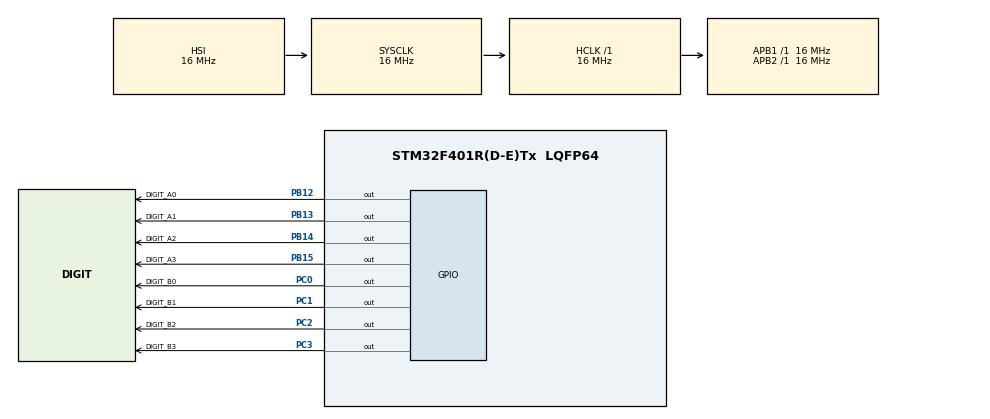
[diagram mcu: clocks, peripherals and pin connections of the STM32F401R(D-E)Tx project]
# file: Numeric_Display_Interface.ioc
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Mcu.Family=STM32F4
Mcu.Name=STM32F401R(D-E)Tx
Mcu.Package=LQFP64
NVIC.PriorityGroup=NVIC_PRIORITYGROUP_4
PB12.GPIO_Label=DIGIT_A0
PB12.Signal=GPIO_Output
PB13.GPIO_Label=DIGIT_A1
PB13.Signal=GPIO_Output
PB14.GPIO_Label=DIGIT_A2
PB14.Signal=GPIO_Output
PB15.GPIO_Label=DIGIT_A3
PB15.Signal=GPIO_Output
PC0.GPIO_Label=DIGIT_B0
PC0.Signal=GPIO_Output
PC1.GPIO_Label=DIGIT_B1
PC1.Signal=GPIO_Output
PC2.GPIO_Label=DIGIT_B2
PC2.Signal=GPIO_Output
PC3.GPIO_Label=DIGIT_B3
PC3.Signal=GPIO_Output
ProjectManager.HeapSize=0x200
ProjectManager.StackSize=0x400
ProjectManager.TargetToolchain=STM32CubeIDE
RCC.AHBFreq_Value=16000000
RCC.APB1Freq_Value=16000000
RCC.APB2Freq_Value=16000000
RCC.CortexFreq_Value=16000000
RCC.HSE_VALUE=25000000
RCC.HSI_VALUE=16000000
RCC.LSE_VALUE=32768
RCC.SYSCLKFreq_VALUE=16000000
RCC.VCOOutputFreq_Value=192000000
board=custom

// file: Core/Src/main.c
/* USER CODE BEGIN Header */
/**
  ******************************************************************************
  * @file           : main.c
  * @brief          : Main program body
  ******************************************************************************
  * @attention
  *
  * Copyright (c) 2026 STMicroelectronics.
  * All rights reserved.
  *
  * This software is licensed under terms that can be found in the LICENSE file
  * in the root directory of this software component.
  * If no LICENSE file comes with this software, it is provided AS-IS.
  *
  ******************************************************************************
  */
/* USER CODE END Header */

#include "main.h"

void SystemClock_Config(void);
static void MX_GPIO_Init(void);

/* USER CODE BEGIN 0 */
void DIGITS_Display(uint8_t digit_A, uint8_t digit_B)
{
  /* Digit A: tens */
  HAL_GPIO_WritePin(GPIOB, DIGIT_A0_Pin,
                   (digit_A & 0x01U) ? GPIO_PIN_SET : GPIO_PIN_RESET);

  HAL_GPIO_WritePin(GPIOB, DIGIT_A1_Pin,
                   (digit_A & 0x02U) ? GPIO_PIN_SET : GPIO_PIN_RESET);

  HAL_GPIO_WritePin(GPIOB, DIGIT_A2_Pin,
                   (digit_A & 0x04U) ? GPIO_PIN_SET : GPIO_PIN_RESET);

  HAL_GPIO_WritePin(GPIOB, DIGIT_A3_Pin,
                   (digit_A & 0x08U) ? GPIO_PIN_SET : GPIO_PIN_RESET);

  /* Digit B: ones */
  HAL_GPIO_WritePin(GPIOC, DIGIT_B0_Pin,
                   (digit_B & 0x01U) ? GPIO_PIN_SET : GPIO_PIN_RESET);

  HAL_GPIO_WritePin(GPIOC, DIGIT_B1_Pin,
                   (digit_B & 0x02U) ? GPIO_PIN_SET : GPIO_PIN_RESET);

  HAL_GPIO_WritePin(GPIOC, DIGIT_B2_Pin,
                   (digit_B & 0x04U) ? GPIO_PIN_SET : GPIO_PIN_RESET);

  HAL_GPIO_WritePin(GPIOC, DIGIT_B3_Pin,
                   (digit_B & 0x08U) ? GPIO_PIN_SET : GPIO_PIN_RESET);
}
/* USER CODE END 0 */

int main(void)
{

  HAL_Init();

  SystemClock_Config();

  MX_GPIO_Init();

  /* USER CODE BEGIN 2 */
  uint8_t count = 0;
  /* USER CODE END 2 */

  /* USER CODE BEGIN WHILE */
  while (1)
  {
    uint8_t digit_A = count / 10U;
    uint8_t digit_B = count % 10U;

    DIGITS_Display(digit_A, digit_B);

    HAL_Delay(500);

    count++;

    if (count >= 100U)
    {
      count = 0;
    }

    /* USER CODE END WHILE */

  }
}

void SystemClock_Config(void)
{
  RCC_OscInitTypeDef RCC_OscInitStruct = {0};
  RCC_ClkInitTypeDef RCC_ClkInitStruct = {0};

  __HAL_RCC_PWR_CLK_ENABLE();
  __HAL_PWR_VOLTAGESCALING_CONFIG(PWR_REGULATOR_VOLTAGE_SCALE2);

  RCC_OscInitStruct.OscillatorType = RCC_OSCILLATORTYPE_HSI;
  RCC_OscInitStruct.HSIState = RCC_HSI_ON;
  RCC_OscInitStruct.HSICalibrationValue = RCC_HSICALIBRATION_DEFAULT;
  RCC_OscInitStruct.PLL.PLLState = RCC_PLL_NONE;

  if (HAL_RCC_OscConfig(&RCC_OscInitStruct) != HAL_OK)
  {
    Error_Handler();
  }

  RCC_ClkInitStruct.ClockType = RCC_CLOCKTYPE_HCLK
                             | RCC_CLOCKTYPE_SYSCLK
                             | RCC_CLOCKTYPE_PCLK1
                             | RCC_CLOCKTYPE_PCLK2;

  RCC_ClkInitStruct.SYSCLKSource = RCC_SYSCLKSOURCE_HSI;
  RCC_ClkInitStruct.AHBCLKDivider = RCC_SYSCLK_DIV1;
  RCC_ClkInitStruct.APB1CLKDivider = RCC_HCLK_DIV1;
  RCC_ClkInitStruct.APB2CLKDivider = RCC_HCLK_DIV1;

  if (HAL_RCC_ClockConfig(&RCC_ClkInitStruct,
                         FLASH_LATENCY_0) != HAL_OK)
  {
    Error_Handler();
  }
}

static void MX_GPIO_Init(void)
{
  GPIO_InitTypeDef GPIO_InitStruct = {0};

  __HAL_RCC_GPIOC_CLK_ENABLE();
  __HAL_RCC_GPIOB_CLK_ENABLE();

  HAL_GPIO_WritePin(
      GPIOC,
      DIGIT_B0_Pin | DIGIT_B1_Pin | DIGIT_B2_Pin | DIGIT_B3_Pin,
      GPIO_PIN_RESET
  );

  HAL_GPIO_WritePin(
      GPIOB,
      DIGIT_A0_Pin | DIGIT_A1_Pin | DIGIT_A2_Pin | DIGIT_A3_Pin,
      GPIO_PIN_RESET
  );

  GPIO_InitStruct.Pin = DIGIT_B0_Pin | DIGIT_B1_Pin
                      | DIGIT_B2_Pin | DIGIT_B3_Pin;

  GPIO_InitStruct.Mode = GPIO_MODE_OUTPUT_PP;
  GPIO_InitStruct.Pull = GPIO_NOPULL;
  GPIO_InitStruct.Speed = GPIO_SPEED_FREQ_LOW;

  HAL_GPIO_Init(GPIOC, &GPIO_InitStruct);

  GPIO_InitStruct.Pin = DIGIT_A0_Pin | DIGIT_A1_Pin
                      | DIGIT_A2_Pin | DIGIT_A3_Pin;

  GPIO_InitStruct.Mode = GPIO_MODE_OUTPUT_PP;
  GPIO_InitStruct.Pull = GPIO_NOPULL;
  GPIO_InitStruct.Speed = GPIO_SPEED_FREQ_LOW;

  HAL_GPIO_Init(GPIOB, &GPIO_InitStruct);

}

void Error_Handler(void)
{
  __disable_irq();
  while (1)
  {
  }
}
